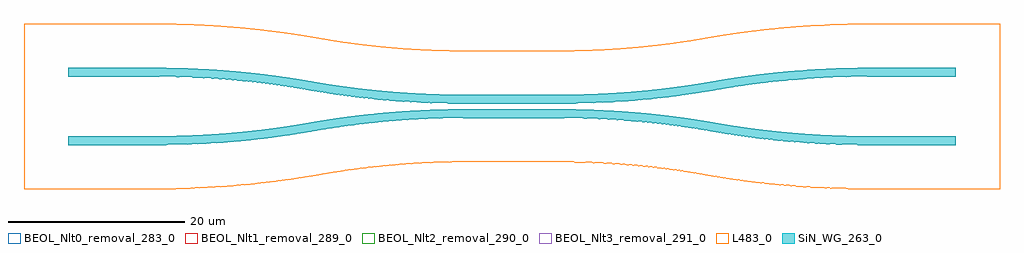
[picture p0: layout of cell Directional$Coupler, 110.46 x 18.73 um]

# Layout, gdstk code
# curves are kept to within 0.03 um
import gdstk
lib = gdstk.Library(unit=1e-6, precision=1e-09)
def R(c, l, rs):  # rectangles x0, y0, x1, y1
    for r in rs: c.add(gdstk.rectangle(r[:2], r[2:], *l))
def P(c, l, *ps):  # polygons
    for p in ps: c.add(gdstk.Polygon(p, *l))
SiN_WG_263_0 = (263, 0)
BEOL_Nlt0_removal_283_0 = (283, 0)
BEOL_Nlt1_removal_289_0 = (289, 0)
BEOL_Nlt2_removal_290_0 = (290, 0)
BEOL_Nlt3_removal_291_0 = (291, 0)
L483_0 = (483, 0)

directional_coupler = lib.new_cell('Directional$Coupler')
R(directional_coupler, SiN_WG_263_0, [(13116.79,13157.312,13126.79,13158.312), (13207.249,13157.312,13217.249,13158.312), (13161.519,13160.35,13172.519,13161.35), (13161.519,13162,13172.519,13163), (13116.79,13165.039,13126.79,13166.039), (13207.249,13165.039,13217.249,13166.039)])
P(directional_coupler, SiN_WG_263_0, [(13189.971,13163.527),(13189.797,13164.512),(13192.881,13165.007),(13196.577,13165.471),(13200.007,13165.778),(13203.766,13165.979),(13207.249,13166.039),(13207.249,13165.039),(13202.988,13164.948),(13198.696,13164.671),(13194.262,13164.188)],
  [(13172.519,13162),(13172.519,13163),(13176.82,13163.093),(13181.033,13163.365),(13185.467,13163.846),(13189.797,13164.512),(13189.971,13163.527),(13185.578,13162.852),(13181.159,13162.372),(13176.843,13162.093)],
  [(13161.439,13162),(13157.196,13162.093),(13152.72,13162.386),(13148.461,13162.852),(13144.068,13163.527),(13144.241,13164.512),(13148.571,13163.846),(13153.006,13163.365),(13157.219,13163.093),(13161.519,13163),(13161.519,13162)],
  [(13144.068,13163.527),(13139.777,13164.188),(13135.343,13164.671),(13131.05,13164.948),(13126.79,13165.039),(13126.79,13166.039),(13130.273,13165.979),(13134.032,13165.778),(13137.582,13165.458),(13141.316,13164.984),(13144.241,13164.512)],
  [(13206.969,13157.312),(13202.605,13157.419),(13198.41,13157.701),(13193.952,13158.195),(13189.797,13158.839),(13189.971,13159.824),(13194.459,13159.137),(13198.775,13158.673),(13202.869,13158.408),(13207.249,13158.312),(13207.249,13157.312)],
  [(13189.797,13158.839),(13185.428,13159.51),(13181.033,13159.986),(13176.7,13160.263),(13172.519,13160.35),(13172.519,13161.35),(13176.043,13161.289),(13179.961,13161.075),(13183.51,13160.748),(13187.125,13160.284),(13189.971,13159.824)],
  [(13126.79,13157.312),(13126.79,13158.312),(13131.17,13158.408),(13135.343,13158.68),(13139.817,13159.168),(13144.068,13159.824),(13144.241,13158.839),(13140.086,13158.195),(13135.629,13157.701),(13131.233,13157.41)],
  [(13144.241,13158.839),(13144.068,13159.824),(13146.914,13160.284),(13150.528,13160.748),(13154.077,13161.075),(13157.996,13161.289),(13161.519,13161.35),(13161.519,13160.35),(13157.338,13160.263),(13153.006,13159.986),(13148.611,13159.51)])
P(directional_coupler, BEOL_Nlt0_removal_283_0, [(13111.79,13152.312),(13111.79,13163.312),(13127.769,13163.317),(13130.251,13163.375),(13132.789,13163.502),(13135.778,13163.74),(13138.881,13164.088),(13141.297,13164.432),(13146.55,13165.284),(13150.695,13165.794),(13155.684,13166.19),(13158.329,13166.303),(13161.057,13166.35),(13174.063,13166.34),(13177.07,13166.253),(13179.914,13166.092),(13182.785,13165.85),(13185.99,13165.488),(13188.809,13165.086),(13193.286,13164.349),(13196.239,13163.955),(13199.436,13163.635),(13202.687,13163.422),(13206.787,13163.313),(13222.249,13163.312),(13222.249,13152.312),(13206.146,13152.317),(13203.579,13152.375),(13200.934,13152.5),(13197.848,13152.731),(13194.537,13153.08),(13191.149,13153.547),(13186.075,13154.373),(13182.103,13154.864),(13179.737,13155.075),(13177.32,13155.229),(13172.859,13155.35),(13160.099,13155.34),(13157.356,13155.259),(13154.819,13155.113),(13151.937,13154.864),(13149.129,13154.535),(13142.204,13153.443),(13138.817,13152.999),(13135.311,13152.656),(13131.621,13152.422),(13127.372,13152.313)],
  [(13161.377,13157),(13158.57,13157.041),(13155.924,13157.148),(13151.174,13157.509),(13146.422,13158.085),(13141.655,13158.863),(13138.798,13159.274),(13135.666,13159.621),(13132.469,13159.868),(13129.933,13159.987),(13127.411,13160.037),(13111.79,13160.039),(13111.79,13171.039),(13127.893,13171.034),(13130.46,13170.976),(13133.185,13170.846),(13136.508,13170.591),(13140.37,13170.162),(13143.198,13169.756),(13148.002,13168.972),(13151.895,13168.491),(13154.262,13168.279),(13156.679,13168.124),(13158.974,13168.034),(13161.496,13168),(13173.94,13168.011),(13176.802,13168.097),(13179.18,13168.235),(13181.865,13168.463),(13184.752,13168.795),(13187.35,13169.171),(13191.795,13169.902),(13194.983,13170.324),(13198.169,13170.648),(13201.533,13170.885),(13206.506,13171.037),(13222.249,13171.039),(13222.249,13160.039),(13206.787,13160.038),(13202.648,13159.927),(13199.635,13159.732),(13196.239,13159.396),(13193.247,13158.996),(13189.007,13158.296),(13186.268,13157.899),(13183.264,13157.549),(13179.914,13157.259),(13177.03,13157.096),(13174.063,13157.011)])
P(directional_coupler, BEOL_Nlt1_removal_289_0, [(13111.79,13152.312),(13111.79,13163.312),(13127.769,13163.317),(13130.251,13163.375),(13132.789,13163.502),(13135.778,13163.74),(13138.881,13164.088),(13141.297,13164.432),(13146.55,13165.284),(13150.695,13165.794),(13155.684,13166.19),(13158.329,13166.303),(13161.057,13166.35),(13174.063,13166.34),(13177.07,13166.253),(13179.914,13166.092),(13182.785,13165.85),(13185.99,13165.488),(13188.809,13165.086),(13193.286,13164.349),(13196.239,13163.955),(13199.436,13163.635),(13202.687,13163.422),(13206.787,13163.313),(13222.249,13163.312),(13222.249,13152.312),(13206.146,13152.317),(13203.579,13152.375),(13200.934,13152.5),(13197.848,13152.731),(13194.537,13153.08),(13191.149,13153.547),(13186.075,13154.373),(13182.103,13154.864),(13179.737,13155.075),(13177.32,13155.229),(13172.859,13155.35),(13160.099,13155.34),(13157.356,13155.259),(13154.819,13155.113),(13151.937,13154.864),(13149.129,13154.535),(13142.204,13153.443),(13138.817,13152.999),(13135.311,13152.656),(13131.621,13152.422),(13127.372,13152.313)],
  [(13161.377,13157),(13158.57,13157.041),(13155.924,13157.148),(13151.174,13157.509),(13146.422,13158.085),(13141.655,13158.863),(13138.798,13159.274),(13135.666,13159.621),(13132.469,13159.868),(13129.933,13159.987),(13127.411,13160.037),(13111.79,13160.039),(13111.79,13171.039),(13127.893,13171.034),(13130.46,13170.976),(13133.185,13170.846),(13136.508,13170.591),(13140.37,13170.162),(13143.198,13169.756),(13148.002,13168.972),(13151.895,13168.491),(13154.262,13168.279),(13156.679,13168.124),(13158.974,13168.034),(13161.496,13168),(13173.94,13168.011),(13176.802,13168.097),(13179.18,13168.235),(13181.865,13168.463),(13184.752,13168.795),(13187.35,13169.171),(13191.795,13169.902),(13194.983,13170.324),(13198.169,13170.648),(13201.533,13170.885),(13206.506,13171.037),(13222.249,13171.039),(13222.249,13160.039),(13206.787,13160.038),(13202.648,13159.927),(13199.635,13159.732),(13196.239,13159.396),(13193.247,13158.996),(13189.007,13158.296),(13186.268,13157.899),(13183.264,13157.549),(13179.914,13157.259),(13177.03,13157.096),(13174.063,13157.011)])
P(directional_coupler, BEOL_Nlt2_removal_290_0, [(13111.79,13152.312),(13111.79,13163.312),(13127.769,13163.317),(13130.251,13163.375),(13132.789,13163.502),(13135.778,13163.74),(13138.881,13164.088),(13141.297,13164.432),(13146.55,13165.284),(13150.695,13165.794),(13155.684,13166.19),(13158.329,13166.303),(13161.057,13166.35),(13174.063,13166.34),(13177.07,13166.253),(13179.914,13166.092),(13182.785,13165.85),(13185.99,13165.488),(13188.809,13165.086),(13193.286,13164.349),(13196.239,13163.955),(13199.436,13163.635),(13202.687,13163.422),(13206.787,13163.313),(13222.249,13163.312),(13222.249,13152.312),(13206.146,13152.317),(13203.579,13152.375),(13200.934,13152.5),(13197.848,13152.731),(13194.537,13153.08),(13191.149,13153.547),(13186.075,13154.373),(13182.103,13154.864),(13179.737,13155.075),(13177.32,13155.229),(13172.859,13155.35),(13160.099,13155.34),(13157.356,13155.259),(13154.819,13155.113),(13151.937,13154.864),(13149.129,13154.535),(13142.204,13153.443),(13138.817,13152.999),(13135.311,13152.656),(13131.621,13152.422),(13127.372,13152.313)],
  [(13161.377,13157),(13158.57,13157.041),(13155.924,13157.148),(13151.174,13157.509),(13146.422,13158.085),(13141.655,13158.863),(13138.798,13159.274),(13135.666,13159.621),(13132.469,13159.868),(13129.933,13159.987),(13127.411,13160.037),(13111.79,13160.039),(13111.79,13171.039),(13127.893,13171.034),(13130.46,13170.976),(13133.185,13170.846),(13136.508,13170.591),(13140.37,13170.162),(13143.198,13169.756),(13148.002,13168.972),(13151.895,13168.491),(13154.262,13168.279),(13156.679,13168.124),(13158.974,13168.034),(13161.496,13168),(13173.94,13168.011),(13176.802,13168.097),(13179.18,13168.235),(13181.865,13168.463),(13184.752,13168.795),(13187.35,13169.171),(13191.795,13169.902),(13194.983,13170.324),(13198.169,13170.648),(13201.533,13170.885),(13206.506,13171.037),(13222.249,13171.039),(13222.249,13160.039),(13206.787,13160.038),(13202.648,13159.927),(13199.635,13159.732),(13196.239,13159.396),(13193.247,13158.996),(13189.007,13158.296),(13186.268,13157.899),(13183.264,13157.549),(13179.914,13157.259),(13177.03,13157.096),(13174.063,13157.011)])
P(directional_coupler, BEOL_Nlt3_removal_291_0, [(13111.79,13152.312),(13111.79,13163.312),(13127.769,13163.317),(13130.251,13163.375),(13132.789,13163.502),(13135.778,13163.74),(13138.881,13164.088),(13141.297,13164.432),(13146.55,13165.284),(13150.695,13165.794),(13155.684,13166.19),(13158.329,13166.303),(13161.057,13166.35),(13174.063,13166.34),(13177.07,13166.253),(13179.914,13166.092),(13182.785,13165.85),(13185.99,13165.488),(13188.809,13165.086),(13193.286,13164.349),(13196.239,13163.955),(13199.436,13163.635),(13202.687,13163.422),(13206.787,13163.313),(13222.249,13163.312),(13222.249,13152.312),(13206.146,13152.317),(13203.579,13152.375),(13200.934,13152.5),(13197.848,13152.731),(13194.537,13153.08),(13191.149,13153.547),(13186.075,13154.373),(13182.103,13154.864),(13179.737,13155.075),(13177.32,13155.229),(13172.859,13155.35),(13160.099,13155.34),(13157.356,13155.259),(13154.819,13155.113),(13151.937,13154.864),(13149.129,13154.535),(13142.204,13153.443),(13138.817,13152.999),(13135.311,13152.656),(13131.621,13152.422),(13127.372,13152.313)],
  [(13161.377,13157),(13158.57,13157.041),(13155.924,13157.148),(13151.174,13157.509),(13146.422,13158.085),(13141.655,13158.863),(13138.798,13159.274),(13135.666,13159.621),(13132.469,13159.868),(13129.933,13159.987),(13127.411,13160.037),(13111.79,13160.039),(13111.79,13171.039),(13127.893,13171.034),(13130.46,13170.976),(13133.185,13170.846),(13136.508,13170.591),(13140.37,13170.162),(13143.198,13169.756),(13148.002,13168.972),(13151.895,13168.491),(13154.262,13168.279),(13156.679,13168.124),(13158.974,13168.034),(13161.496,13168),(13173.94,13168.011),(13176.802,13168.097),(13179.18,13168.235),(13181.865,13168.463),(13184.752,13168.795),(13187.35,13169.171),(13191.795,13169.902),(13194.983,13170.324),(13198.169,13170.648),(13201.533,13170.885),(13206.506,13171.037),(13222.249,13171.039),(13222.249,13160.039),(13206.787,13160.038),(13202.648,13159.927),(13199.635,13159.732),(13196.239,13159.396),(13193.247,13158.996),(13189.007,13158.296),(13186.268,13157.899),(13183.264,13157.549),(13179.914,13157.259),(13177.03,13157.096),(13174.063,13157.011)])
P(directional_coupler, L483_0, [(13111.79,13152.312),(13111.79,13163.312),(13127.769,13163.317),(13130.251,13163.375),(13132.789,13163.502),(13135.778,13163.74),(13138.881,13164.088),(13141.297,13164.432),(13146.55,13165.284),(13150.695,13165.794),(13155.684,13166.19),(13158.329,13166.303),(13161.057,13166.35),(13174.063,13166.34),(13177.07,13166.253),(13179.914,13166.092),(13182.785,13165.85),(13185.99,13165.488),(13188.809,13165.086),(13193.286,13164.349),(13196.239,13163.955),(13199.436,13163.635),(13202.687,13163.422),(13206.787,13163.313),(13222.249,13163.312),(13222.249,13152.312),(13206.146,13152.317),(13203.579,13152.375),(13200.934,13152.5),(13197.848,13152.731),(13194.537,13153.08),(13191.149,13153.547),(13186.075,13154.373),(13182.103,13154.864),(13179.737,13155.075),(13177.32,13155.229),(13172.859,13155.35),(13160.099,13155.34),(13157.356,13155.259),(13154.819,13155.113),(13151.937,13154.864),(13149.129,13154.535),(13142.204,13153.443),(13138.817,13152.999),(13135.311,13152.656),(13131.621,13152.422),(13127.372,13152.313)],
  [(13161.377,13157),(13158.57,13157.041),(13155.924,13157.148),(13151.174,13157.509),(13146.422,13158.085),(13141.655,13158.863),(13138.798,13159.274),(13135.666,13159.621),(13132.469,13159.868),(13129.933,13159.987),(13127.411,13160.037),(13111.79,13160.039),(13111.79,13171.039),(13127.893,13171.034),(13130.46,13170.976),(13133.185,13170.846),(13136.508,13170.591),(13140.37,13170.162),(13143.198,13169.756),(13148.002,13168.972),(13151.895,13168.491),(13154.262,13168.279),(13156.679,13168.124),(13158.974,13168.034),(13161.496,13168),(13173.94,13168.011),(13176.802,13168.097),(13179.18,13168.235),(13181.865,13168.463),(13184.752,13168.795),(13187.35,13169.171),(13191.795,13169.902),(13194.983,13170.324),(13198.169,13170.648),(13201.533,13170.885),(13206.506,13171.037),(13222.249,13171.039),(13222.249,13160.039),(13206.787,13160.038),(13202.648,13159.927),(13199.635,13159.732),(13196.239,13159.396),(13193.247,13158.996),(13189.007,13158.296),(13186.268,13157.899),(13183.264,13157.549),(13179.914,13157.259),(13177.03,13157.096),(13174.063,13157.011)])

lib.write_gds('Directional_Coupler.gds')
